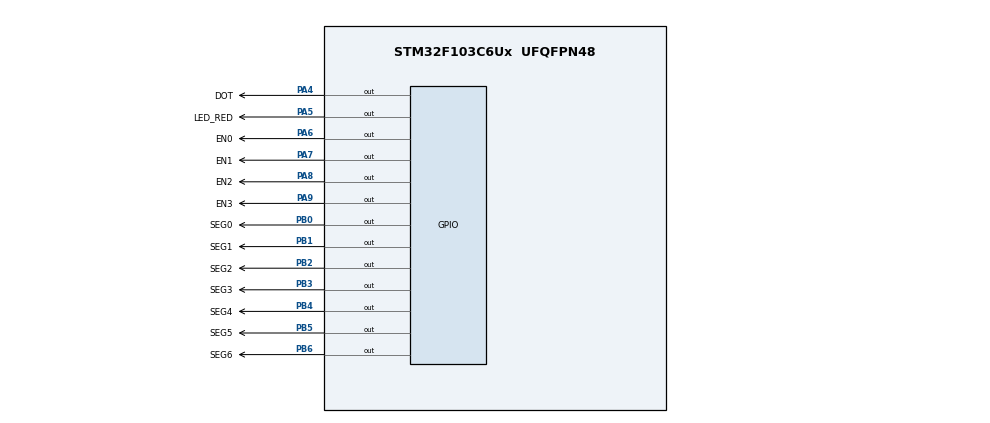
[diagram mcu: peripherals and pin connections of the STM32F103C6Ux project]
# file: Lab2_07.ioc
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Mcu.Family=STM32F1
Mcu.Name=STM32F103C6Ux
Mcu.Package=UFQFPN48
NVIC.PriorityGroup=NVIC_PRIORITYGROUP_4
NVIC.TIM2_IRQn=true\:0\:0\:false\:false\:true\:true\:true
PA4.GPIO_Label=DOT
PA4.Signal=GPIO_Output
PA5.GPIO_Label=LED_RED
PA5.Signal=GPIO_Output
PA6.GPIO_Label=EN0
PA6.Signal=GPIO_Output
PA7.GPIO_Label=EN1
PA7.Signal=GPIO_Output
PA8.GPIO_Label=EN2
PA8.Signal=GPIO_Output
PA9.GPIO_Label=EN3
PA9.Signal=GPIO_Output
PB0.GPIO_Label=SEG0
PB0.Signal=GPIO_Output
PB1.GPIO_Label=SEG1
PB1.Signal=GPIO_Output
PB2.GPIO_Label=SEG2
PB2.Signal=GPIO_Output
PB3.GPIO_Label=SEG3
PB3.Signal=GPIO_Output
PB4.GPIO_Label=SEG4
PB4.Signal=GPIO_Output
PB5.GPIO_Label=SEG5
PB5.Signal=GPIO_Output
PB6.GPIO_Label=SEG6
PB6.Signal=GPIO_Output
ProjectManager.HeapSize=0x200
ProjectManager.StackSize=0x400
ProjectManager.TargetToolchain=STM32CubeIDE
RCC.APB1Freq_Value=8000000
RCC.APB2Freq_Value=8000000
TIM2.Period=9
TIM2.Prescaler=7999
VP_SYS_VS_ND.Mode=No_Debug
VP_TIM2_VS_ClockSourceINT.Mode=Internal
board=custom

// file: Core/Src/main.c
/* USER CODE BEGIN Header */
/**
  ******************************************************************************
  * @file           : main.c
  * @brief          : Main program body
  ******************************************************************************
  * @attention
  *
  * <h2><center>&copy; Copyright (c) 2022 STMicroelectronics.
  * All rights reserved.</center></h2>
  *
  * This software component is licensed by ST under BSD 3-Clause license,
  * the "License"; You may not use this file except in compliance with the
  * License. You may obtain a copy of the License at:
  *                        opensource.org/licenses/BSD-3-Clause
  *
  ******************************************************************************
  */
/* USER CODE END Header */
#include "main.h"

TIM_HandleTypeDef htim2;

/* USER CODE BEGIN PV */
#define setDot 100
#define setLed 50
#define setSeg 50
int hour = 15, minute = 8, second = 50;
/* USER CODE END PV */

void SystemClock_Config(void);
static void MX_GPIO_Init(void);
static void MX_TIM2_Init(void);
void updateClockBuffer();

/* USER CODE BEGIN 0 */
int timer0_counter = 0;
int timer0_flag = 0;
int TIMER_CYCLE = 10;
void setTimer0 ( int duration ){
	timer0_counter = duration / TIMER_CYCLE ;
	timer0_flag = 0;
}
void timer_run (){
	if( timer0_counter > 0){
		timer0_counter --;
		if( timer0_counter == 0) timer0_flag = 1;
	}
}
/* USER CODE END 0 */

int main(void)
{

  /* MCU Configuration--------------------------------------------------------*/

  /* Reset of all peripherals, Initializes the Flash interface and the Systick. */
  HAL_Init();

  /* Configure the system clock */
  SystemClock_Config();

  /* Initialize all configured peripherals */
  MX_GPIO_Init();
  MX_TIM2_Init();
  /* USER CODE BEGIN 2 */
HAL_TIM_Base_Start_IT(&htim2);
  /* USER CODE END 2 */

  /* Infinite loop */
  /* USER CODE BEGIN WHILE */
setTimer0(1000);
  while (1)
  {
	  if (timer0_flag == 1){
	 		  second++;
	 		  if (second >= 60){
	 			  second = 0;
	 			  minute++;
	 		  }
	 		  if (minute >= 60){
	 			  minute = 0;
	 			  hour++;
	 		  }
	 		  if (hour >= 24){
	 			  hour = 0;
	 		  }
	 		  updateClockBuffer();
	 		  HAL_GPIO_TogglePin(DOT_GPIO_Port, DOT_Pin); // dem DOT tu interrupt len day
	 		  setTimer0(1000);
	 	  }
    /* USER CODE END WHILE */

  }
}

void SystemClock_Config(void)
{
  RCC_OscInitTypeDef RCC_OscInitStruct = {0};
  RCC_ClkInitTypeDef RCC_ClkInitStruct = {0};

  /** Initializes the RCC Oscillators according to the specified parameters
  * in the RCC_OscInitTypeDef structure.
  */
  RCC_OscInitStruct.OscillatorType = RCC_OSCILLATORTYPE_HSI;
  RCC_OscInitStruct.HSIState = RCC_HSI_ON;
  RCC_OscInitStruct.HSICalibrationValue = RCC_HSICALIBRATION_DEFAULT;
  RCC_OscInitStruct.PLL.PLLState = RCC_PLL_NONE;
  if (HAL_RCC_OscConfig(&RCC_OscInitStruct) != HAL_OK)
  {
    Error_Handler();
  }
  /** Initializes the CPU, AHB and APB buses clocks
  */
  RCC_ClkInitStruct.ClockType = RCC_CLOCKTYPE_HCLK|RCC_CLOCKTYPE_SYSCLK
                              |RCC_CLOCKTYPE_PCLK1|RCC_CLOCKTYPE_PCLK2;
  RCC_ClkInitStruct.SYSCLKSource = RCC_SYSCLKSOURCE_HSI;
  RCC_ClkInitStruct.AHBCLKDivider = RCC_SYSCLK_DIV1;
  RCC_ClkInitStruct.APB1CLKDivider = RCC_HCLK_DIV1;
  RCC_ClkInitStruct.APB2CLKDivider = RCC_HCLK_DIV1;

  if (HAL_RCC_ClockConfig(&RCC_ClkInitStruct, FLASH_LATENCY_0) != HAL_OK)
  {
    Error_Handler();
  }
}

static void MX_TIM2_Init(void)
{

  TIM_ClockConfigTypeDef sClockSourceConfig = {0};
  TIM_MasterConfigTypeDef sMasterConfig = {0};

  htim2.Instance = TIM2;
  htim2.Init.Prescaler = 7999;
  htim2.Init.CounterMode = TIM_COUNTERMODE_UP;
  htim2.Init.Period = 9;
  htim2.Init.ClockDivision = TIM_CLOCKDIVISION_DIV1;
  htim2.Init.AutoReloadPreload = TIM_AUTORELOAD_PRELOAD_DISABLE;
  if (HAL_TIM_Base_Init(&htim2) != HAL_OK)
  {
    Error_Handler();
  }
  sClockSourceConfig.ClockSource = TIM_CLOCKSOURCE_INTERNAL;
  if (HAL_TIM_ConfigClockSource(&htim2, &sClockSourceConfig) != HAL_OK)
  {
    Error_Handler();
  }
  sMasterConfig.MasterOutputTrigger = TIM_TRGO_RESET;
  sMasterConfig.MasterSlaveMode = TIM_MASTERSLAVEMODE_DISABLE;
  if (HAL_TIMEx_MasterConfigSynchronization(&htim2, &sMasterConfig) != HAL_OK)
  {
    Error_Handler();
  }

}

static void MX_GPIO_Init(void)
{
  GPIO_InitTypeDef GPIO_InitStruct = {0};

  /* GPIO Ports Clock Enable */
  __HAL_RCC_GPIOA_CLK_ENABLE();
  __HAL_RCC_GPIOB_CLK_ENABLE();

  /*Configure GPIO pin Output Level */
  HAL_GPIO_WritePin(GPIOA, DOT_Pin|LED_RED_Pin|EN0_Pin|EN1_Pin
                          |EN2_Pin|EN3_Pin, GPIO_PIN_RESET);

  /*Configure GPIO pin Output Level */
  HAL_GPIO_WritePin(GPIOB, SEG0_Pin|SEG1_Pin|SEG2_Pin|SEG3_Pin
                          |SEG4_Pin|SEG5_Pin|SEG6_Pin, GPIO_PIN_RESET);

  /*Configure GPIO pins : DOT_Pin LED_RED_Pin EN0_Pin EN1_Pin
                           EN2_Pin EN3_Pin */
  GPIO_InitStruct.Pin = DOT_Pin|LED_RED_Pin|EN0_Pin|EN1_Pin
                          |EN2_Pin|EN3_Pin;
  GPIO_InitStruct.Mode = GPIO_MODE_OUTPUT_PP;
  GPIO_InitStruct.Pull = GPIO_NOPULL;
  GPIO_InitStruct.Speed = GPIO_SPEED_FREQ_LOW;
  HAL_GPIO_Init(GPIOA, &GPIO_InitStruct);

  /*Configure GPIO pins : SEG0_Pin SEG1_Pin SEG2_Pin SEG3_Pin
                           SEG4_Pin SEG5_Pin SEG6_Pin */
  GPIO_InitStruct.Pin = SEG0_Pin|SEG1_Pin|SEG2_Pin|SEG3_Pin
                          |SEG4_Pin|SEG5_Pin|SEG6_Pin;
  GPIO_InitStruct.Mode = GPIO_MODE_OUTPUT_PP;
  GPIO_InitStruct.Pull = GPIO_NOPULL;
  GPIO_InitStruct.Speed = GPIO_SPEED_FREQ_LOW;
  HAL_GPIO_Init(GPIOB, &GPIO_InitStruct);

}

/* USER CODE BEGIN 4 */
int countDot=100;
int countLed=50;
int countSeg=50; //500ms switch seg
unsigned char segmentNumber[10]={
		0x40,
		0x79,
		0x24,
		0x30,
		0x19,
		0x12,
		0x02,
		0x78,
		0x00,
		0x10
};
void display7SEG(int counter){
	unsigned char num = segmentNumber[counter];
	HAL_GPIO_WritePin(SEG0_GPIO_Port, SEG0_Pin, ((num>>0)&0x01));
	HAL_GPIO_WritePin(SEG1_GPIO_Port, SEG1_Pin, ((num>>1)&0x01));
	HAL_GPIO_WritePin(SEG2_GPIO_Port, SEG2_Pin, ((num>>2)&0x01));
	HAL_GPIO_WritePin(SEG3_GPIO_Port, SEG3_Pin, ((num>>3)&0x01));
	HAL_GPIO_WritePin(SEG4_GPIO_Port, SEG4_Pin, ((num>>4)&0x01));
	HAL_GPIO_WritePin(SEG5_GPIO_Port, SEG5_Pin, ((num>>5)&0x01));
	HAL_GPIO_WritePin(SEG6_GPIO_Port, SEG6_Pin, ((num>>6)&0x01));
}
const int MAX_LED = 4;
int index_led = 0;
int led_buffer [4] = {1, 3, 0, 4};
void updateClockBuffer(){
	led_buffer[0] = hour / 10;		//First digit of hour
	led_buffer[1] = hour % 10;		//Second digit of hour
	led_buffer[2] = minute / 10;	//First digit of minute
	led_buffer[3] = minute % 10;	//Second digit of minute
}
void update7SEG ( int index ){
	display7SEG (led_buffer[index]);
	switch ( index ){
	case 0:
		// Display the first 7 SEG with led_buffer [0]
		HAL_GPIO_WritePin(EN0_GPIO_Port, EN0_Pin, RESET);
		HAL_GPIO_WritePin(EN1_GPIO_Port, EN1_Pin, SET);
		HAL_GPIO_WritePin(EN2_GPIO_Port, EN2_Pin, SET);
		HAL_GPIO_WritePin(EN3_GPIO_Port, EN3_Pin, SET);
		break ;
	case 1:
		// Display the second 7 SEG with led_buffer [1]
		HAL_GPIO_WritePin(EN0_GPIO_Port, EN0_Pin, SET);
		HAL_GPIO_WritePin(EN1_GPIO_Port, EN1_Pin, RESET);
		HAL_GPIO_WritePin(EN2_GPIO_Port, EN2_Pin, SET);
		HAL_GPIO_WritePin(EN3_GPIO_Port, EN3_Pin, SET);
		break ;
	case 2:
		// Display the third 7 SEG with led_buffer [2]
		HAL_GPIO_WritePin(EN0_GPIO_Port, EN0_Pin, SET);
		HAL_GPIO_WritePin(EN1_GPIO_Port, EN1_Pin, SET);
		HAL_GPIO_WritePin(EN2_GPIO_Port, EN2_Pin, RESET);
		HAL_GPIO_WritePin(EN3_GPIO_Port, EN3_Pin, SET);
		break ;
	case 3:
		// Display the forth 7 SEG with led_buffer [3]
		HAL_GPIO_WritePin(EN0_GPIO_Port, EN0_Pin, SET);
		HAL_GPIO_WritePin(EN1_GPIO_Port, EN1_Pin, SET);
		HAL_GPIO_WritePin(EN2_GPIO_Port, EN2_Pin, SET);
		HAL_GPIO_WritePin(EN3_GPIO_Port, EN3_Pin, RESET);
		break ;
	default :
		break ;
	}
}
void HAL_TIM_PeriodElapsedCallback ( TIM_HandleTypeDef * htim )
{

	timer_run ();
	// YOUR OTHER CODE
	//DOT_TOGGLE IN MAIN
	countLed--;
	countSeg--;
	if(countLed<=0){
		countLed=setLed;
		HAL_GPIO_TogglePin(LED_RED_GPIO_Port, LED_RED_Pin);
	}
	if(countSeg<=0){
		countSeg=setSeg;
		if(index_led >3) index_led=0;
		update7SEG(index_led); // chuyen sang main o bai 8
		index_led++;
	}
}
/* USER CODE END 4 */

void Error_Handler(void)
{
  __disable_irq();
  while (1)
  {
  }
}

/************************ (C) COPYRIGHT STMicroelectronics *****END OF FILE****/
